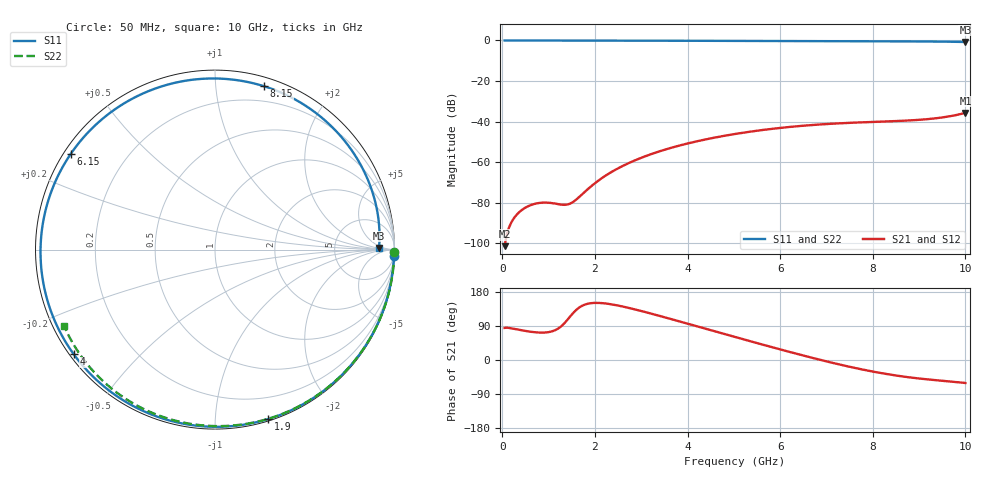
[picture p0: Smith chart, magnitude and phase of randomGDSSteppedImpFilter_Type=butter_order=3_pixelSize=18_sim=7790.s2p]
! freq	dB(S11)	phase(S11)	dB(S12)	phase(S12)
!  dB(S21)	phase(S21)	dB(S22)	phase(S22)
!S-par simulation data
#  GHz  S  DB  R 50
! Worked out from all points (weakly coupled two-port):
!   200 points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, 50 MHz to 10 GHz, reference 50 ohm
!   highest |S21| = -35.71 dB at 10 GHz (marker M1); lowest = -101.5 dB at 50 MHz (marker M2)
!   lowest |S11| = -0.8 dB at 10 GHz (marker M3), VSWR 22.20, Z = 1.1e+03 + j118 ohm
!   |S11| at or under -10 dB: nowhere
!   |S22| runs from -0.5 to 0.0 dB; largest |S21 - S12| = 0
!   S11 on the Smith chart (normalised r, x): 50 MHz: 4, -57; 1.9 GHz: 0.01, -1.36; 4 GHz: 0.01, -0.33; 6.15 GHz: 0.02, +0.30; 8.15 GHz: 0.07, +1.34; 10 GHz: 22, +2
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0.05  -0.02 -2.0  -101.46 84.7  -101.46 84.7  -0.00 -0.9
0.7  -0.04 -27.5  -80.60 73.3  -80.60 73.3  -0.02 -12.4
1.5  -0.07 -58.0  -80.07 119.8  -80.07 119.8  -0.03 -26.3
1.75  -0.08 -67.2  -75.34 144.6  -75.34 144.6  -0.04 -30.6
1.9  -0.09 -72.6  -72.29 149.7  -72.29 149.7  -0.04 -33.1
2.2  -0.10 -83.3  -67.13 149.6  -67.13 149.6  -0.05 -38.2
2.55  -0.12 -95.5  -62.48 142.4  -62.48 142.4  -0.06 -44.1
2.95  -0.13 -109.1  -58.34 130.9  -58.34 130.9  -0.07 -50.7
3.4  -0.15 -124.0  -54.66 116.3  -54.66 116.3  -0.08 -58.0
4  -0.18 -143.4  -50.83 95.9  -50.83 95.9  -0.09 -67.6
4.55  -0.21 -161.0  -48.08 77.0  -48.08 77.0  -0.11 -76.1
5.05  -0.24 -177.1  -46.05 59.9  -46.05 59.9  -0.13 -83.7
5.6  -0.28 164.9  -44.23 41.3  -44.23 41.3  -0.15 -91.9
6.15  -0.31 146.5  -42.80 23.1  -42.80 23.1  -0.18 -99.8
6.7  -0.35 127.3  -41.70 5.5  -41.70 5.5  -0.21 -107.7
7.45  -0.40 100.0  -40.69 -16.6  -40.69 -16.6  -0.26 -118.2
8.15  -0.44 73.4  -40.08 -33.9  -40.08 -33.9  -0.32 -127.8
8.35  -0.46 65.6  -39.91 -38.0  -39.91 -38.0  -0.34 -130.5
8.8  -0.49 48.1  -39.45 -46.0  -39.45 -46.0  -0.38 -136.7
9.25  -0.55 30.4  -38.67 -52.0  -38.67 -52.0  -0.43 -142.9
9.65  -0.63 14.6  -37.46 -56.3  -37.46 -56.3  -0.47 -148.4
10  -0.78 0.6  -35.71 -60.8  -35.71 -60.8  -0.52 -153.2
